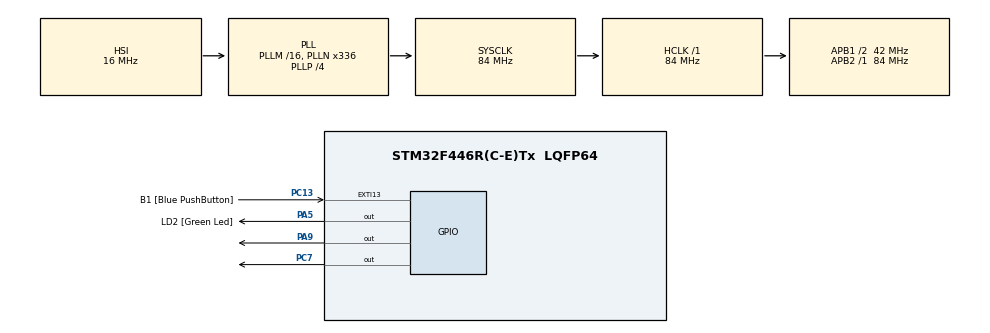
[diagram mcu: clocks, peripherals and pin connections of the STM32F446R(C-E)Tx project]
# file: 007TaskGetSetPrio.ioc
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Mcu.Family=STM32F4
Mcu.Name=STM32F446R(C-E)Tx
Mcu.Package=LQFP64
NVIC.EXTI15_10_IRQn=true\:6\:0\:true\:false\:true\:true\:true
NVIC.PriorityGroup=NVIC_PRIORITYGROUP_4
NVIC.TIM5_IRQn=true\:0\:0\:false\:false\:true\:false\:true
NVIC.TimeBase=TIM5_IRQn
NVIC.TimeBaseIP=TIM5
PA13.GPIO_Label=TMS
PA13.Signal=SYS_JTMS-SWDIO
PA14.GPIO_Label=TCK
PA14.Signal=SYS_JTCK-SWCLK
PA2.GPIO_Label=USART_TX
PA2.Signal=USART2_TX
PA3.GPIO_Label=USART_RX
PA3.Signal=USART2_RX
PA5.GPIO_Label=LD2 [Green Led]
PA5.Signal=GPIO_Output
PA9.Signal=GPIO_Output
PB3.GPIO_Label=SWO
PB3.Signal=SYS_JTDO-SWO
PC13.GPIO_Label=B1 [Blue PushButton]
PC13.GPIO_ModeDefaultEXTI=GPIO_MODE_IT_FALLING
PC13.Signal=GPXTI13
PC14-OSC32_IN.Signal=RCC_OSC32_IN
PC15-OSC32_OUT.Signal=RCC_OSC32_OUT
PC7.Signal=GPIO_Output
PH0-OSC_IN.Signal=RCC_OSC_IN
PH1-OSC_OUT.Signal=RCC_OSC_OUT
ProjectManager.HeapSize=0x200
ProjectManager.StackSize=0x400
ProjectManager.TargetToolchain=STM32CubeIDE
RCC.AHBFreq_Value=84000000
RCC.APB1CLKDivider=RCC_HCLK_DIV2
RCC.APB1Freq_Value=42000000
RCC.APB1TimFreq_Value=84000000
RCC.APB2Freq_Value=84000000
RCC.APB2TimFreq_Value=84000000
RCC.CortexFreq_Value=84000000
RCC.FLatency-AdvancedSettings=FLASH_LATENCY_2
RCC.HCLKFreq_Value=84000000
RCC.HSE_VALUE=8000000
RCC.HSI_VALUE=16000000
RCC.LSE_VALUE=32768
RCC.PLLN=336
RCC.PLLP=RCC_PLLP_DIV4
RCC.SYSCLKFreq_VALUE=84000000
RCC.SYSCLKSource=RCC_SYSCLKSOURCE_PLLCLK
RCC.USBFreq_Value=168000000
RCC.VCOOutputFreq_Value=336000000
VP_SYS_VS_tim5.Mode=TIM5
board=NUCLEO-F446RE

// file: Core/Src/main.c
/* USER CODE BEGIN Header */
/**
  ******************************************************************************
  * @file           : main.c
  * @brief          : Main program body
  ******************************************************************************
  * @attention
  *
  * <h2><center>&copy; Copyright (c) 2022 STMicroelectronics.
  * All rights reserved.</center></h2>
  *
  * This software component is licensed by ST under BSD 3-Clause license,
  * the "License"; You may not use this file except in compliance with the
  * License. You may obtain a copy of the License at:
  *                        opensource.org/licenses/BSD-3-Clause
  *
  ******************************************************************************
  */
/* USER CODE END Header */

#include "main.h"

/* USER CODE BEGIN Includes */
#include "FreeRTOS.h"
#include "task.h"
/* USER CODE END Includes */

/* USER CODE BEGIN PV */
#define DWT_CTRL (*(volatile uint32_t*)0xE0001000)
/* USER CODE END PV */

void SystemClock_Config(void);
static void MX_GPIO_Init(void);
/* USER CODE BEGIN PFP */
void LedSlowTask(void *parameter);
void LedFastTask(void *parameter);
void SwitchPriority(void);
void button_interrupt_handler(void);
extern void SEGGER_UART_init(U32 baud);
/* USER CODE END PFP */

/* USER CODE BEGIN 0 */
TaskHandle_t SlowTaskHandle;
TaskHandle_t FastTaskHandle;
TaskHandle_t volatile Next_Task_Handle = NULL;
volatile BaseType_t userbutton = 1;
BaseType_t status;
/* USER CODE END 0 */

int main(void)
{

  /* MCU Configuration--------------------------------------------------------*/

  /* Reset of all peripherals, Initializes the Flash interface and the Systick. */
  HAL_Init();

  /* Configure the system clock */
  SystemClock_Config();

  /* Initialize all configured peripherals */
  MX_GPIO_Init();
  /* USER CODE BEGIN 2 */
  DWT_CTRL |= (1<<0); //Set the zeroth bit to one //SEGGER UART

  SEGGER_SYSVIEW_Conf();
//  SEGGER_SYSVIEW_Start(); //Already done in UART

  status = xTaskCreate( LedSlowTask, "SlowTask", 200, NULL , 4, &SlowTaskHandle );
  configASSERT(status == pdPASS);
//
//  Next_Task_Handle = SlowTaskHandle;
//
  status = xTaskCreate( LedFastTask, "FastTask", 200, NULL , 1, &FastTaskHandle );
  configASSERT(status == pdPASS);
  NVIC_EnableIRQ(EXTI15_10_IRQn);      //Enable IRQ and the interrupt occurs btw pin 10 to 15 so that argument
  __enable_irq();
  /* USER CODE END 2 */

  /* Infinite loop */
  /* USER CODE BEGIN WHILE */
  vTaskStartScheduler();
  while (1)
  {
    /* USER CODE END WHILE */

  }
}

void SystemClock_Config(void)
{
  RCC_OscInitTypeDef RCC_OscInitStruct = {0};
  RCC_ClkInitTypeDef RCC_ClkInitStruct = {0};

  /** Configure the main internal regulator output voltage
  */
  __HAL_RCC_PWR_CLK_ENABLE();
  __HAL_PWR_VOLTAGESCALING_CONFIG(PWR_REGULATOR_VOLTAGE_SCALE3);
  /** Initializes the CPU, AHB and APB busses clocks
  */
  RCC_OscInitStruct.OscillatorType = RCC_OSCILLATORTYPE_HSI;
  RCC_OscInitStruct.HSIState = RCC_HSI_ON;
  RCC_OscInitStruct.HSICalibrationValue = RCC_HSICALIBRATION_DEFAULT;
  RCC_OscInitStruct.PLL.PLLState = RCC_PLL_ON;
  RCC_OscInitStruct.PLL.PLLSource = RCC_PLLSOURCE_HSI;
  RCC_OscInitStruct.PLL.PLLM = 16;
  RCC_OscInitStruct.PLL.PLLN = 336;
  RCC_OscInitStruct.PLL.PLLP = RCC_PLLP_DIV4;
  RCC_OscInitStruct.PLL.PLLQ = 2;
  RCC_OscInitStruct.PLL.PLLR = 2;
  if (HAL_RCC_OscConfig(&RCC_OscInitStruct) != HAL_OK)
  {
    Error_Handler();
  }
  /** Initializes the CPU, AHB and APB busses clocks
  */
  RCC_ClkInitStruct.ClockType = RCC_CLOCKTYPE_HCLK|RCC_CLOCKTYPE_SYSCLK
                              |RCC_CLOCKTYPE_PCLK1|RCC_CLOCKTYPE_PCLK2;
  RCC_ClkInitStruct.SYSCLKSource = RCC_SYSCLKSOURCE_PLLCLK;
  RCC_ClkInitStruct.AHBCLKDivider = RCC_SYSCLK_DIV1;
  RCC_ClkInitStruct.APB1CLKDivider = RCC_HCLK_DIV2;
  RCC_ClkInitStruct.APB2CLKDivider = RCC_HCLK_DIV1;

  if (HAL_RCC_ClockConfig(&RCC_ClkInitStruct, FLASH_LATENCY_2) != HAL_OK)
  {
    Error_Handler();
  }
}

static void MX_GPIO_Init(void)
{
  GPIO_InitTypeDef GPIO_InitStruct = {0};

  /* GPIO Ports Clock Enable */
  __HAL_RCC_GPIOC_CLK_ENABLE();
  __HAL_RCC_GPIOH_CLK_ENABLE();
  __HAL_RCC_GPIOA_CLK_ENABLE();
  __HAL_RCC_GPIOB_CLK_ENABLE();

  /*Configure GPIO pin Output Level */
  HAL_GPIO_WritePin(GPIOA, LD2_Pin|GPIO_PIN_9, GPIO_PIN_RESET);

  /*Configure GPIO pin Output Level */
  HAL_GPIO_WritePin(GPIOC, GPIO_PIN_7, GPIO_PIN_RESET);

  /*Configure GPIO pin : B1_Pin */
  GPIO_InitStruct.Pin = B1_Pin;
  GPIO_InitStruct.Mode = GPIO_MODE_IT_FALLING;
  GPIO_InitStruct.Pull = GPIO_NOPULL;
  HAL_GPIO_Init(B1_GPIO_Port, &GPIO_InitStruct);

  /*Configure GPIO pins : USART_TX_Pin USART_RX_Pin */
  GPIO_InitStruct.Pin = USART_TX_Pin|USART_RX_Pin;
  GPIO_InitStruct.Mode = GPIO_MODE_AF_PP;
  GPIO_InitStruct.Pull = GPIO_NOPULL;
  GPIO_InitStruct.Speed = GPIO_SPEED_FREQ_VERY_HIGH;
  GPIO_InitStruct.Alternate = GPIO_AF7_USART2;
  HAL_GPIO_Init(GPIOA, &GPIO_InitStruct);

  /*Configure GPIO pins : LD2_Pin PA9 */
  GPIO_InitStruct.Pin = LD2_Pin|GPIO_PIN_9;
  GPIO_InitStruct.Mode = GPIO_MODE_OUTPUT_PP;
  GPIO_InitStruct.Pull = GPIO_NOPULL;
  GPIO_InitStruct.Speed = GPIO_SPEED_FREQ_LOW;
  HAL_GPIO_Init(GPIOA, &GPIO_InitStruct);

  /*Configure GPIO pin : PC7 */
  GPIO_InitStruct.Pin = GPIO_PIN_7;
  GPIO_InitStruct.Mode = GPIO_MODE_OUTPUT_PP;
  GPIO_InitStruct.Pull = GPIO_NOPULL;
  GPIO_InitStruct.Speed = GPIO_SPEED_FREQ_LOW;
  HAL_GPIO_Init(GPIOC, &GPIO_InitStruct);

  /* EXTI interrupt init*/
  HAL_NVIC_SetPriority(EXTI15_10_IRQn, 6, 0);
  HAL_NVIC_EnableIRQ(EXTI15_10_IRQn);

}

/* USER CODE BEGIN 4 */

void button_interrupt_handler(void){
	traceISR_ENTER();
	userbutton = 0;
	traceISR_EXIT();
}

void SwitchPriority(void){
	UBaseType_t p1,p2;
	xTaskHandle t1,t2,curr;

	BaseType_t enter_switchpriority = 0;

	portENTER_CRITICAL();
	if(userbutton == 0){
		userbutton = 1;
		enter_switchpriority = 1;
	}
	portEXIT_CRITICAL();
	if(enter_switchpriority)
	{
		t1 = xTaskGetHandle("SlowTask");
		t2 = xTaskGetHandle("FastTask");

		p1 = uxTaskPriorityGet(t1);
		p2 = uxTaskPriorityGet(t2);
		curr = xTaskGetCurrentTaskHandle();

		if(curr == t1)
		{
			vTaskPrioritySet(t1,p2);
			vTaskPrioritySet(t2,p1);
		}
		else
		{
			vTaskPrioritySet(t2,p1);
			vTaskPrioritySet(t1,p2);
		}
	}

}

void LedSlowTask(void *parameter){
	while(1){
		SEGGER_SYSVIEW_PrintfTarget("SLOW LED Task");
		HAL_GPIO_TogglePin(GPIOA, GPIO_PIN_9); //PA5
		vTaskDelay(pdMS_TO_TICKS(1000));
		SwitchPriority();
	}/*End of Infinite Loop*/
}

void LedFastTask(void *parameter){
	while(1){
		SEGGER_SYSVIEW_PrintfTarget("FAST LED Task");
		HAL_GPIO_TogglePin(GPIOC, GPIO_PIN_7); //PA5
		vTaskDelay(pdMS_TO_TICKS(100));
		SwitchPriority();
	}/*End of Infinite Loop*/
}

/* USER CODE END 4 */

 /**
  * @brief  Period elapsed callback in non blocking mode
  * @note   This function is called  when TIM5 interrupt took place, inside
  * HAL_TIM_IRQHandler(). It makes a direct call to HAL_IncTick() to increment
  * a global variable "uwTick" used as application time base.
  * @param  htim : TIM handle
  * @retval None
  */
void HAL_TIM_PeriodElapsedCallback(TIM_HandleTypeDef *htim)
{
  if (htim->Instance == TIM5) {
    HAL_IncTick();
  }
}

void Error_Handler(void)
{
}

/************************ (C) COPYRIGHT STMicroelectronics *****END OF FILE****/
